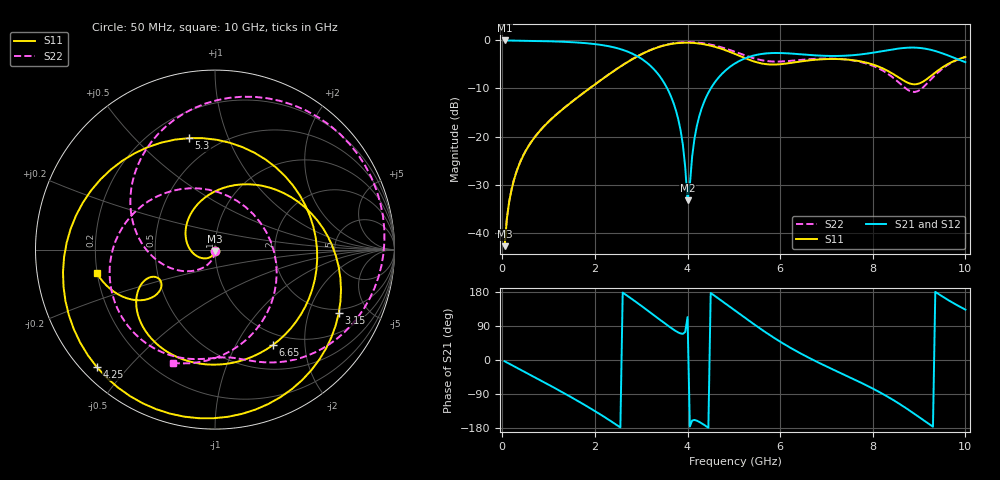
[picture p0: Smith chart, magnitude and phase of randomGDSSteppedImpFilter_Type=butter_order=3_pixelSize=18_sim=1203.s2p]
! freq	dB(S11)	phase(S11)	dB(S12)	phase(S12)
!  dB(S21)	phase(S21)	dB(S22)	phase(S22)
!S-par simulation data
#  GHz  S  DB  R 50
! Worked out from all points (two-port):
!   200 points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, 50 MHz to 10 GHz, reference 50 ohm
!   highest |S21| = -0.01 dB at 50 MHz (marker M1); lowest = -33.3 dB at 4 GHz (marker M2)
!   |S21| within 3 dB of the highest: start of sweep to 2.861 GHz; 7.648 GHz to 9.594 GHz (1.945 GHz wide, 22.6 % of centre) (the widest 2 of 3)
!   lowest |S11| = -42.8 dB at 50 MHz (marker M3), VSWR 1.01, Z = 50 - j0.722 ohm
!   |S11| at or under -10 dB: start of sweep to 1.882 GHz
!   |S22| runs from -42.8 to -0.4 dB; largest |S21 - S12| = 0
!   S11 on the Smith chart (normalised r, x): 50 MHz: 1.00, -0.01; 3.15 GHz: 1.80, -3.19; 4.25 GHz: 0.04, -0.41; 5.3 GHz: 0.35, +0.73; 6.65 GHz: 0.82, -1.43; 10 GHz: 0.20, -0.09
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0.05  -42.83 -91.4  -0.01 -3.3  -0.01 -3.3  -42.80 -88.4
0.2  -31.05 -107.4  -0.03 -13.0  -0.03 -13.0  -30.98 -97.0
0.45  -24.02 -131.1  -0.06 -29.2  -0.06 -29.2  -23.95 -107.6
1.15  -15.58 163.2  -0.22 -75.1  -0.22 -75.1  -15.54 -135.1
1.75  -10.95 105.6  -0.53 -116.6  -0.53 -116.6  -10.93 -160.8
2.45  -6.09 39.3  -1.54 -169.8  -1.54 -169.8  -6.07 158.8
3.15  -2.21 -27.2  -4.86 129.6  -4.86 129.6  -2.18 102.9
3.4  -1.31 -51.4  -7.46 106.7  -7.46 106.7  -1.27 80.1
3.8  -0.54 -90.6  -16.41 72.7  -16.41 72.7  -0.46 42.8
4  -0.47 -110.3  -33.31 113.2  -33.31 113.2  -0.36 24.6
4.25  -0.65 -135.2  -15.88 -163.1  -15.88 -163.1  -0.49 2.8
4.65  -1.49 -177.0  -7.96 163.8  -7.96 163.8  -1.22 -28.8
5.05  -2.91 136.1  -4.64 128.2  -4.64 128.2  -2.45 -54.6
5.3  -3.91 103.1  -3.52 106.1  -3.52 106.1  -3.32 -66.8
5.95  -4.99 12.8  -2.61 52.2  -2.61 52.2  -4.41 -87.6
6.65  -4.13 -59.0  -3.04 4.0  -3.04 4.0  -3.89 -112.9
6.7  -4.08 -63.0  -3.07 0.9  -3.07 0.9  -3.86 -115.1
7.65  -4.22 -122.8  -3.00 -54.2  -3.00 -54.2  -4.31 -164.2
8.35  -6.48 -153.1  -1.99 -98.9  -1.99 -98.9  -7.10 138.5
8.75  -8.78 -155.2  -1.51 -129.7  -1.51 -129.7  -10.24 76.5
9.2  -7.81 -142.5  -1.84 -167.7  -1.84 -167.7  -8.68 -21.0
10  -3.45 -168.9  -4.52 133.0  -4.52 133.0  -3.43 -110.5
